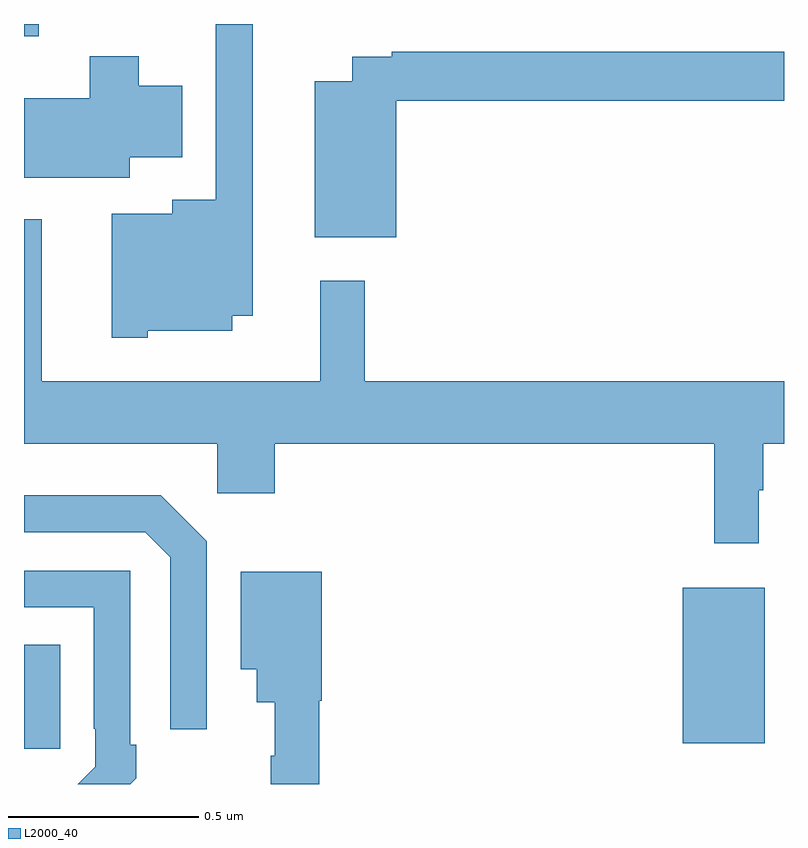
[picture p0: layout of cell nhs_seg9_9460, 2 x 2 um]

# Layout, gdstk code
import gdstk
lib = gdstk.Library(unit=1e-6, precision=1e-09)
def R(c, l, rs):  # rectangles x0, y0, x1, y1
    for r in rs: c.add(gdstk.rectangle(r[:2], r[2:], *l))
def P(c, l, *ps):  # polygons
    for p in ps: c.add(gdstk.Polygon(p, *l))
L2000_40 = (2000, 40)

nhs_seg9_9460 = lib.new_cell('nhs_seg9_9460')
R(nhs_seg9_9460, L2000_40, [(230,1219.593,230.095,1219.867), (231.734,1219.607,231.949,1220.017), (230,1221.468,230.039,1221.5), (230.78,1221.499,230.897,1221.5)])
P(nhs_seg9_9460, L2000_40, [(230.325,1220.693),(230.548,1220.693),(230.548,1220.732),(230.602,1220.732),(230.602,1221.5),(230.505,1221.5),(230.505,1221.037),(230.39,1221.037),(230.39,1221.001),(230.231,1221.001),(230.231,1220.675),(230.325,1220.675)],
  [(230.98,1221.298),(232,1221.298),(232,1221.427),(230.968,1221.427),(230.968,1221.414),(230.864,1221.414),(230.864,1221.349),(230.765,1221.349),(230.765,1220.939),(230.98,1220.939)],
  [(230.278,1221.149),(230.416,1221.149),(230.416,1221.337),(230.302,1221.337),(230.302,1221.415),(230.173,1221.415),(230.173,1221.304),(230,1221.304),(230,1221.095),(230.278,1221.095)],
  [(231.934,1220.273),(231.946,1220.273),(231.946,1220.396),(232,1220.396),(232,1220.56),(230.897,1220.56),(230.897,1220.824),(230.779,1220.824),(230.779,1220.56),(230.047,1220.56),(230.047,1220.986),(230,1220.986),(230,1220.396),(230.508,1220.396),(230.508,1220.265),(230.66,1220.265),(230.66,1220.396),(231.817,1220.396),(231.817,1220.133),(231.934,1220.133)],
  [(230.481,1220.139),(230.36,1220.26),(230,1220.26),(230,1220.163),(230.319,1220.163),(230.385,1220.097),(230.385,1219.644),(230.481,1219.644)],
  [(230.295,1219.515),(230.295,1219.603),(230.28,1219.603),(230.28,1220.061),(230,1220.061),(230,1219.965),(230.184,1219.965),(230.184,1219.645),(230.187,1219.645),(230.187,1219.545),(230.142,1219.5),(230.28,1219.5)],
  [(230.777,1219.719),(230.783,1219.719),(230.783,1220.059),(230.57,1220.059),(230.57,1219.802),(230.612,1219.802),(230.612,1219.715),(230.66,1219.715),(230.66,1219.575),(230.649,1219.575),(230.649,1219.5),(230.777,1219.5)])

lib.write_gds('nhs_seg9_9460.gds')
